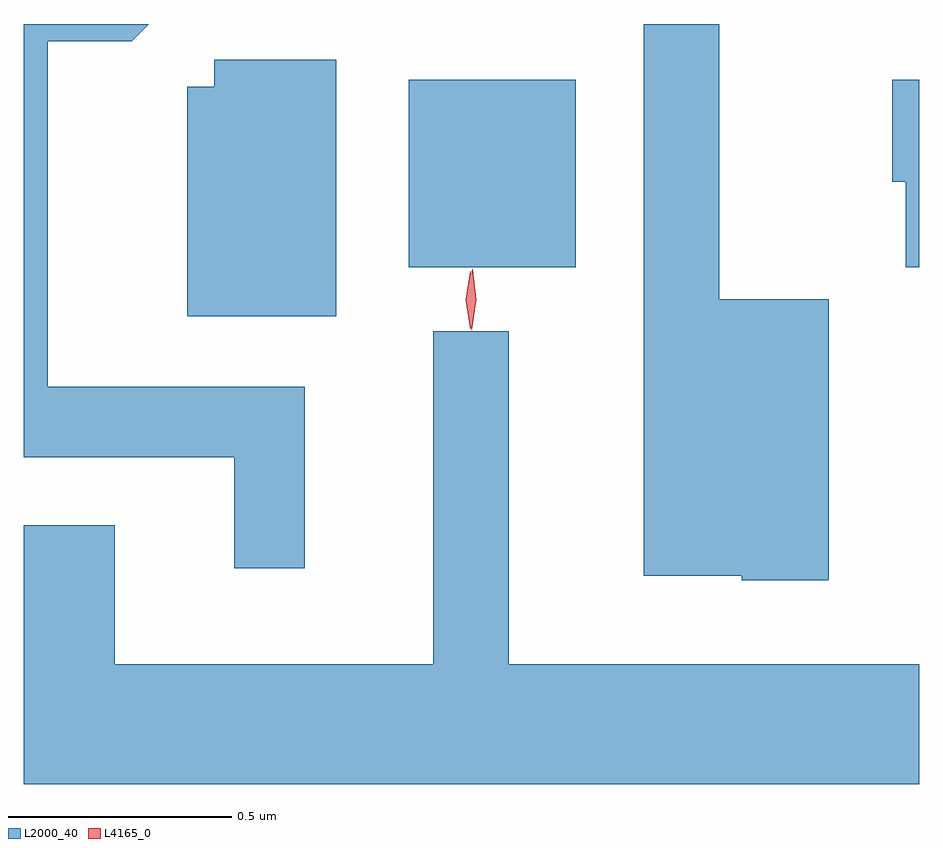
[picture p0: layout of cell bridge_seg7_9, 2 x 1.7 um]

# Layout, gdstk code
import gdstk
lib = gdstk.Library(unit=1e-6, precision=1e-09)
def R(c, l, rs):  # rectangles x0, y0, x1, y1
    for r in rs: c.add(gdstk.rectangle(r[:2], r[2:], *l))
def P(c, l, *ps):  # polygons
    for p in ps: c.add(gdstk.Polygon(p, *l))
L2000_40 = (2000, 40)
L4165_0 = (4165, 0)

bridge_seg7_9 = lib.new_cell('bridge_seg7_9')
R(bridge_seg7_9, L2000_40, [(1690.116,1737.671,1690.489,1738.089)])
P(bridge_seg7_9, L2000_40, [(1691.054,1737.599),(1690.809,1737.599),(1690.809,1738.214),(1690.641,1738.214),(1690.641,1736.981),(1690.86,1736.981),(1690.86,1736.971),(1691.054,1736.971)],
  [(1689.884,1737.404),(1689.309,1737.404),(1689.309,1738.176),(1689.497,1738.176),(1689.535,1738.214),(1689.256,1738.214),(1689.256,1737.246),(1689.726,1737.246),(1689.726,1736.998),(1689.884,1736.998)],
  [(1689.954,1738.134),(1689.681,1738.134),(1689.681,1738.074),(1689.621,1738.074),(1689.621,1737.561),(1689.954,1737.561)],
  [(1691.256,1738.089),(1691.196,1738.089),(1691.196,1737.861),(1691.226,1737.861),(1691.226,1737.671),(1691.256,1737.671)],
  [(1691.256,1736.784),(1690.339,1736.784),(1690.339,1737.528),(1690.171,1737.528),(1690.171,1736.784),(1689.459,1736.784),(1689.459,1737.094),(1689.256,1737.094),(1689.256,1736.516),(1691.256,1736.516)])
P(bridge_seg7_9, L4165_0, [(1690.256,1737.53),(1690.256,1737.53),(1690.248,1737.598),(1690.258,1737.666),(1690.259,1737.666),(1690.259,1737.666),(1690.267,1737.598),(1690.257,1737.53)],
  [(1690.253,1737.533),(1690.253,1737.533),(1690.243,1737.598),(1690.253,1737.661),(1690.253,1737.662),(1690.254,1737.661),(1690.263,1737.598),(1690.254,1737.533)])

lib.write_gds('bridge_seg7_9.gds')
